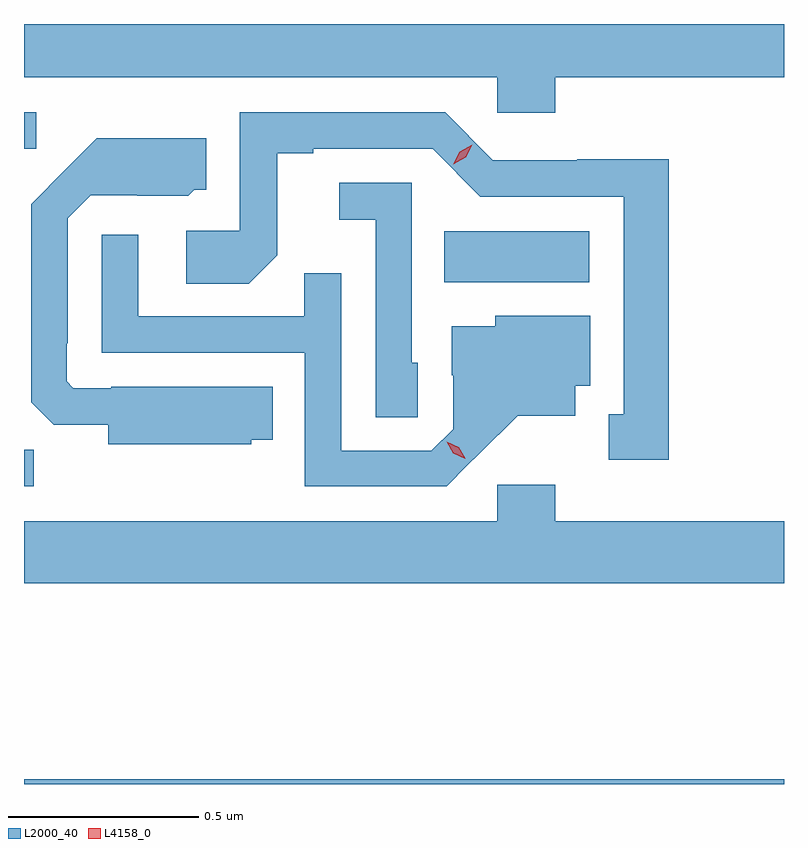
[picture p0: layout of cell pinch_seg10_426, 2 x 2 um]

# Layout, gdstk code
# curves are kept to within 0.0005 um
import gdstk
lib = gdstk.Library(unit=1e-6, precision=1e-09)
def R(c, l, rs):  # rectangles x0, y0, x1, y1
    for r in rs: c.add(gdstk.rectangle(r[:2], r[2:], *l))
def P(c, l, *ps):  # polygons
    for p in ps: c.add(gdstk.Polygon(p, *l))
L2000_40 = (2000, 40)
L4158_0 = (4158, 0)

pinch_seg10_426 = lib.new_cell('pinch_seg10_426')
R(pinch_seg10_426, L2000_40, [(574.934,1257.164,576.934,1257.176), (574.934,1257.948,574.959,1258.043), (576.04,1258.484,576.421,1258.618), (574.934,1258.836,574.966,1258.932)])
P(pinch_seg10_426, L2000_40, [(576.332,1259.024),(576.934,1259.024),(576.934,1259.164),(574.934,1259.164),(574.934,1259.024),(576.18,1259.024),(576.18,1258.931),(576.332,1258.931)],
  [(576.631,1258.808),(576.39,1258.808),(576.39,1258.806),(576.168,1258.806),(576.042,1258.932),(575.502,1258.932),(575.502,1258.62),(575.361,1258.62),(575.361,1258.48),(575.525,1258.48),(575.601,1258.556),(575.601,1258.824),(575.695,1258.824),(575.695,1258.836),(576.009,1258.836),(576.135,1258.71),(576.512,1258.71),(576.512,1258.137),(576.473,1258.137),(576.473,1258.017),(576.631,1258.017)],
  [(575.532,1258.07),(575.588,1258.07),(575.588,1258.21),(575.164,1258.21),(575.164,1258.206),(575.064,1258.206),(575.046,1258.224),(575.046,1258.324),(575.049,1258.324),(575.049,1258.653),(575.109,1258.713),(575.232,1258.713),(575.232,1258.712),(575.366,1258.712),(575.382,1258.728),(575.413,1258.728),(575.413,1258.864),(575.125,1258.864),(574.953,1258.69),(574.953,1258.168),(575.012,1258.109),(575.156,1258.109),(575.156,1258.058),(575.532,1258.058)],
  [(575.97,1258.272),(575.955,1258.272),(575.955,1258.746),(575.763,1258.746),(575.763,1258.649),(575.859,1258.649),(575.859,1258.129),(575.97,1258.129)],
  [(576.103,1258.005),(576.233,1258.133),(576.385,1258.133),(576.385,1258.212),(576.424,1258.212),(576.424,1258.396),(576.174,1258.396),(576.174,1258.369),(576.059,1258.369),(576.059,1258.24),(576.063,1258.24),(576.063,1258.098),(576.006,1258.041),(575.769,1258.041),(575.769,1258.508),(575.671,1258.508),(575.671,1258.395),(575.235,1258.395),(575.235,1258.609),(575.139,1258.609),(575.139,1258.299),(575.673,1258.299),(575.673,1257.948),(576.046,1257.948)],
  [(576.934,1257.856),(576.332,1257.856),(576.332,1257.952),(576.18,1257.952),(576.18,1257.856),(574.934,1257.856),(574.934,1257.692),(576.934,1257.692)])
P(pinch_seg10_426, L4158_0, [(576.063,1258.795),(576.063,1258.795),(576.081,1258.828),(576.113,1258.846),(576.113,1258.846),(576.113,1258.846),(576.096,1258.814),(576.064,1258.795)],
  [(576.095,1258.02),(576.064,1258.035),(576.047,1258.065),(576.047,1258.065),(576.047,1258.065),(576.078,1258.05),(576.095,1258.021),(576.095,1258.02)])

lib.write_gds('pinch_seg10_426.gds')
